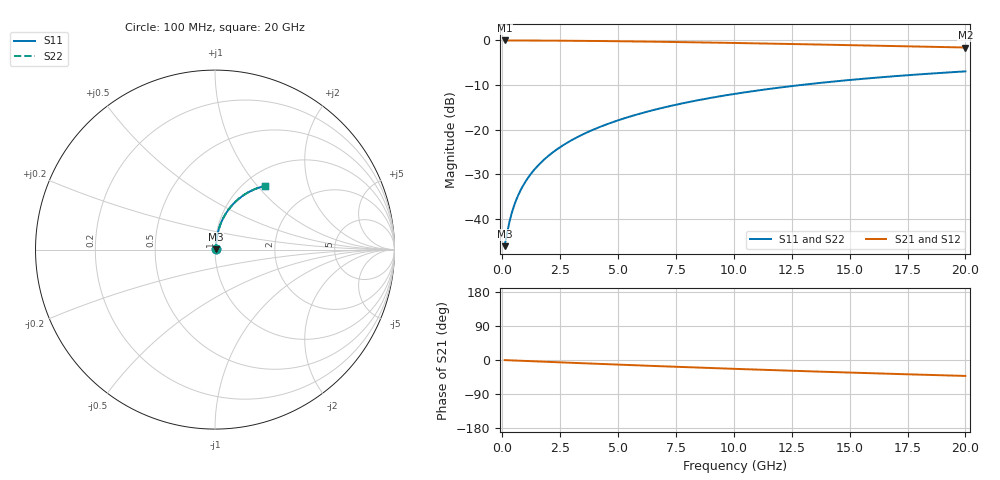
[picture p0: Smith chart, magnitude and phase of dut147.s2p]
! Touchstone file exported from HFSS 2024.1.0
!  File:  C:/UserFiles/LocalFiles/RDL_TSV_Batchsim/temp_RDL_bottom_147_1778697177.aedt
!  Generated:  02:35:39 AM May 14, 2026
!  Design:  RDL_bottom
!  Project:  temp_RDL_bottom_147_1778697177
!  Setup:  Setup1
!  Solution:  Sweep
! Variables:
!  dtsv = 10.80580581um
!  hbump = 3um
!  htsv = 58.05um
!  ldown = 551.38um
!  lrdl = 100um
!  p = 40
!  p1 = 49.87um
!  rhole = 1um
!  t = 450um
!  tdown = 3.15um
!  trdl = 3.915915916um
!  wdown = 15.3um
!  wrdl = 20um
# GHz S MA R 50.000000
! Terminal data exported
! Port[1] = RDL1_T1
! Port[2] = RDL1_T2
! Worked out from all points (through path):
!   200 points, 100 MHz to 20 GHz, reference 50 ohm
!   highest |S21| = -0.04 dB at 100 MHz (marker M1); lowest = -1.6 dB at 20 GHz (marker M2)
!   group delay of S21, straight-line fit = 5.83 ps
!   lowest |S11| = -46.1 dB at 100 MHz (marker M3), VSWR 1.01, Z = 50.4 + j0.27 ohm
!   |S11| at or under -10 dB: start of sweep to 12.91 GHz
!   |S22| runs from -46.1 to -7.0 dB; largest |S21 - S12| = 2.2e-15
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0.1  0.004965 32.6  0.9958 -0.3  0.9958 -0.3  0.004965 32.6
! Gamma 0 0 0 0
! Port Impedance 50 0 50 0
0.2  0.006832 51.2  0.9957 -0.5  0.9957 -0.5  0.006832 51.2
0.3  0.009081 60.9  0.9956 -0.8  0.9956 -0.8  0.009081 60.9
0.4  0.01146 66.4  0.9954 -1.0  0.9954 -1.0  0.01146 66.4
0.5  0.01388 70.0  0.9952 -1.3  0.9952 -1.3  0.01388 70.0
0.6  0.01631 72.5  0.9951 -1.5  0.9951 -1.5  0.01631 72.5
0.8  0.02122 75.7  0.9947 -2.0  0.9947 -2.0  0.02122 75.7
1.1  0.02863 78.3  0.9941 -2.8  0.9941 -2.8  0.02863 78.3
1.3  0.0336 79.4  0.9937 -3.3  0.9937 -3.3  0.0336 79.4
1.6  0.04109 80.3  0.9929 -4.0  0.9929 -4.0  0.04109 80.3
2.1  0.05364 81.1  0.9914 -5.2  0.9914 -5.2  0.05364 81.1
2.7  0.06879 81.2  0.9892 -6.7  0.9892 -6.7  0.06879 81.2
3.5  0.08906 80.7  0.9854 -8.6  0.9854 -8.6  0.08906 80.7
4.2  0.1068 79.9  0.9815 -10.3  0.9815 -10.3  0.1068 79.9
5  0.1271 78.9  0.9764 -12.2  0.9764 -12.2  0.1272 78.9
5.9  0.1499 77.5  0.9699 -14.3  0.9699 -14.3  0.1499 77.5
6.8  0.1726 76.0  0.9628 -16.3  0.9628 -16.3  0.1726 76.0
8.4  0.2121 73.1  0.9489 -19.9  0.9489 -19.9  0.2122 73.1
10.1  0.2529 69.9  0.9329 -23.5  0.9329 -23.5  0.2529 69.9
13.4  0.3266 63.7  0.8995 -30.1  0.8995 -30.1  0.3267 63.7
16.7  0.3921 57.7  0.8648 -36.3  0.8648 -36.3  0.3922 57.7
20  0.4489 52.0  0.8301 -42.0  0.8301 -42.0  0.4491 52.1
